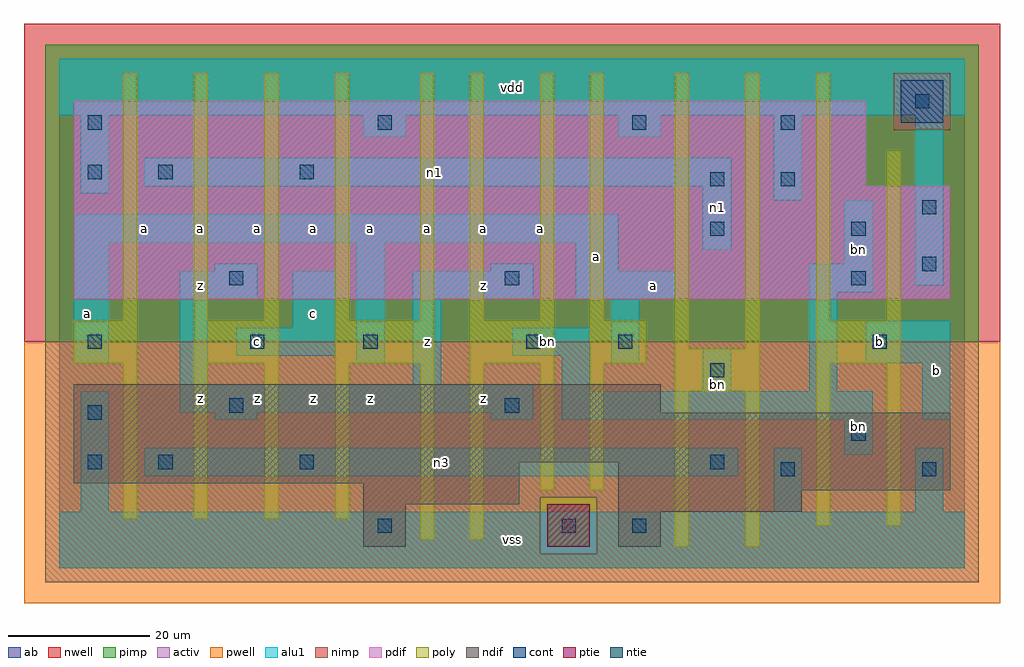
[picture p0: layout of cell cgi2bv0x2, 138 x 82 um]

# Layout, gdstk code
import gdstk
lib = gdstk.Library(unit=1e-6, precision=1e-09)
def R(c, l, rs):  # rectangles x0, y0, x1, y1
    for r in rs: c.add(gdstk.rectangle(r[:2], r[2:], *l))
def A(c, l, x, y, w, h, nx, ny, dx, dy):  # array of equal rectangles
    R(c, l, [(x+i*dx, y+j*dy, x+i*dx+w, y+j*dy+h) for i in range(nx) for j in range(ny)])
ndif = (3, 0)
pdif = (4, 0)
ntie = (5, 0)
ptie = (6, 0)
cont = (25, 0)
pwell = (41, 0)
nwell = (42, 0)
activ = (43, 0)
pimp = (44, 0)
nimp = (45, 0)
poly = (46, 0)
alu1 = (49, 0)
ab = (63, 0)

cgi2bv0x2 = lib.new_cell('cgi2bv0x2')
R(cgi2bv0x2, ndif, [(43,3,49,9), (79,3,85,8), (79,8,105,11), (43,9,65,12), (79,11,126,15), (2,12,65,15), (2,15,126,22), (2,22,85,26)])
R(cgi2bv0x2, pdif, [(2,38,126,54), (2,54,114,66)])
R(cgi2bv0x2, ntie, [(119,63,125,69)])
R(cgi2bv0x2, ptie, [(69,3,75,9)])
R(cgi2bv0x2, cont, [(45,5,47,7), (71,5,73,7), (81,5,83,7), (102,13,104,15), (122,13,124,15), (4,14,6,16), (14,14,16,16), (34,14,36,16), (92,14,94,16), (112,18,114,20), (4,21,6,23), (24,22,26,24), (63,22,65,24), (92,27,94,29), (4,31,6,33), (27,31,29,33), (43,31,45,33), (66,31,68,33), (79,31,81,33), (115,31,117,33), (24,40,26,42), (63,40,65,42), (112,40,114,42), (122,42,124,44), (92,47,94,49), (112,47,114,49), (122,50,124,52), (92,54,94,56), (102,54,104,56), (4,55,6,57), (14,55,16,57), (34,55,36,57), (4,62,6,64), (45,62,47,64), (81,62,83,64), (102,62,104,64), (121,65,123,67)])
R(cgi2bv0x2, pwell, [(-5,-5,133,32)])
R(cgi2bv0x2, nwell, [(-5,32,133,77)])
R(cgi2bv0x2, activ, [(43,3,49,9), (69,3,75,9), (79,3,85,8), (79,8,105,11), (43,9,65,12), (79,11,126,15), (2,12,65,15), (2,15,126,22), (2,22,85,26), (2,38,126,54), (2,54,114,66), (119,63,125,69)])
R(cgi2bv0x2, pimp, [(68,2,76,10), (-2,32,130,62), (-2,62,118,70), (126,62,130,70), (-2,70,130,74)])
R(cgi2bv0x2, nimp, [(-2,-2,130,2), (-2,2,68,10), (76,2,130,10), (-2,10,130,32), (118,62,126,70)])
A(cgi2bv0x2, poly, 9, 7, 2, 22, 4, 1, 10, 0)
A(cgi2bv0x2, poly, 9, 35, 2, 35, 4, 1, 10, 0)
R(cgi2bv0x2, poly, [(87,3,89,25), (97,3,99,25), (51,4,53,29), (58,4,60,29), (107,6,109,29), (117,6,119,29), (68,11,70,29), (75,11,77,29), (87,25,99,31), (2,29,11,35), (19,29,31,35), (39,29,53,35), (58,29,70,35), (75,29,83,35), (107,29,119,35), (87,31,89,70), (97,31,99,70), (51,35,53,70), (58,35,60,70), (68,35,70,70), (75,35,77,70), (107,35,109,70), (117,35,119,59)])
R(cgi2bv0x2, alu1, [(0,0,128,8), (3,8,7,25), (101,8,105,17), (121,8,125,17), (12,13,96,17), (111,16,115,21), (22,21,28,22), (61,21,67,22), (71,21,115,25), (122,21,126,29), (17,22,67,26), (71,25,75,30), (91,25,95,31), (106,25,110,39), (17,26,21,38), (50,26,54,38), (2,29,7,46), (42,29,46,46), (78,29,82,38), (114,29,126,35), (25,30,39,34), (64,30,75,34), (33,34,39,42), (17,38,28,42), (50,38,67,42), (73,38,87,42), (106,39,115,43), (121,40,125,64), (22,42,28,43), (61,42,67,43), (73,42,79,46), (111,43,115,52), (91,45,95,54), (2,46,79,50), (101,52,105,64), (3,53,7,64), (12,54,95,58), (43,61,49,64), (79,61,85,64), (0,64,128,72)])
R(cgi2bv0x2, ab, [(0,0,128,72)])
cgi2bv0x2.add(gdstk.Label('bn', (69,32), layer=49, texttype=0))
cgi2bv0x2.add(gdstk.Label('n3', (54,15), layer=49, texttype=0))
cgi2bv0x2.add(gdstk.Label('bn', (113,20), layer=49, texttype=0))
cgi2bv0x2.add(gdstk.Label('bn', (93,26), layer=49, texttype=0))
cgi2bv0x2.add(gdstk.Label('bn', (113,45), layer=49, texttype=0))
cgi2bv0x2.add(gdstk.Label('n1', (93,51), layer=49, texttype=0))
cgi2bv0x2.add(gdstk.Label('n1', (53,56), layer=49, texttype=0))
cgi2bv0x2.add(gdstk.Label('z', (20,24), layer=49, texttype=0))
cgi2bv0x2.add(gdstk.Label('z', (20,40), layer=49, texttype=0))
cgi2bv0x2.add(gdstk.Label('a', (4,36), layer=49, texttype=0))
cgi2bv0x2.add(gdstk.Label('a', (12,48), layer=49, texttype=0))
cgi2bv0x2.add(gdstk.Label('a', (20,48), layer=49, texttype=0))
cgi2bv0x2.add(gdstk.Label('z', (28,24), layer=49, texttype=0))
cgi2bv0x2.add(gdstk.Label('z', (36,24), layer=49, texttype=0))
cgi2bv0x2.add(gdstk.Label('z', (44,24), layer=49, texttype=0))
cgi2bv0x2.add(gdstk.Label('c', (28,32), layer=49, texttype=0))
cgi2bv0x2.add(gdstk.Label('c', (36,36), layer=49, texttype=0))
cgi2bv0x2.add(gdstk.Label('a', (28,48), layer=49, texttype=0))
cgi2bv0x2.add(gdstk.Label('a', (36,48), layer=49, texttype=0))
cgi2bv0x2.add(gdstk.Label('a', (44,48), layer=49, texttype=0))
cgi2bv0x2.add(gdstk.Label('vss', (64,4), layer=49, texttype=0))
cgi2bv0x2.add(gdstk.Label('z', (60,24), layer=49, texttype=0))
cgi2bv0x2.add(gdstk.Label('z', (52,32), layer=49, texttype=0))
cgi2bv0x2.add(gdstk.Label('z', (60,40), layer=49, texttype=0))
cgi2bv0x2.add(gdstk.Label('a', (52,48), layer=49, texttype=0))
cgi2bv0x2.add(gdstk.Label('a', (60,48), layer=49, texttype=0))
cgi2bv0x2.add(gdstk.Label('a', (68,48), layer=49, texttype=0))
cgi2bv0x2.add(gdstk.Label('vdd', (64,68), layer=49, texttype=0))
cgi2bv0x2.add(gdstk.Label('a', (84,40), layer=49, texttype=0))
cgi2bv0x2.add(gdstk.Label('a', (76,44), layer=49, texttype=0))
cgi2bv0x2.add(gdstk.Label('b', (116,32), layer=49, texttype=0))
cgi2bv0x2.add(gdstk.Label('b', (124,28), layer=49, texttype=0))

lib.write_gds('cgi2bv0x2.gds')
